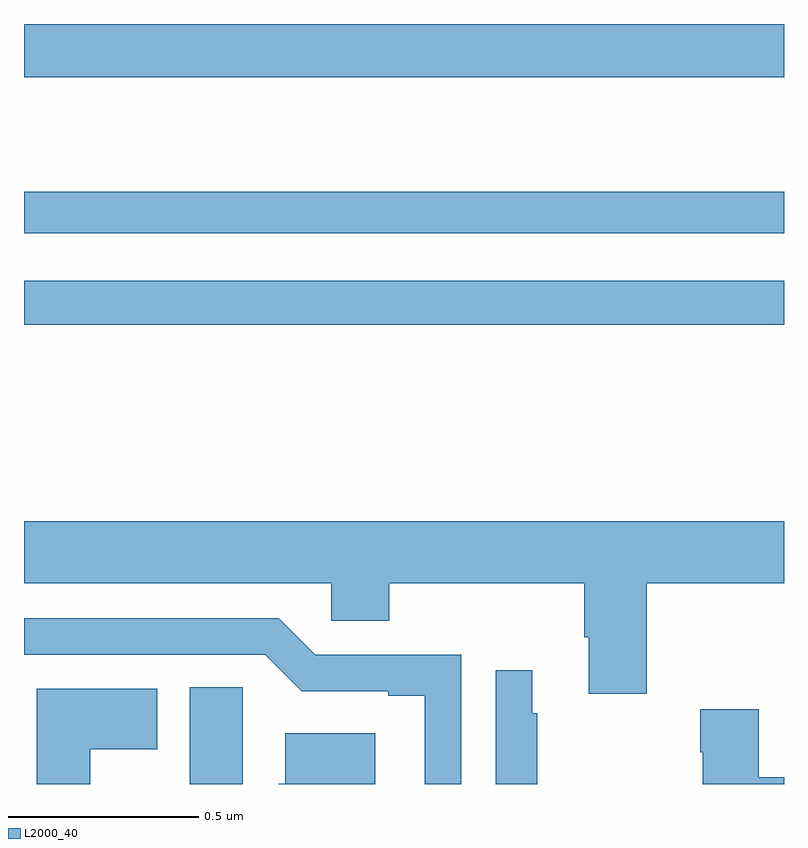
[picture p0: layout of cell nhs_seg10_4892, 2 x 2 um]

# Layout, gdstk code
import gdstk
lib = gdstk.Library(unit=1e-6, precision=1e-09)
def R(c, l, rs):  # rectangles x0, y0, x1, y1
    for r in rs: c.add(gdstk.rectangle(r[:2], r[2:], *l))
def P(c, l, *ps):  # polygons
    for p in ps: c.add(gdstk.Polygon(p, *l))
L2000_40 = (2000, 40)

nhs_seg10_4892 = lib.new_cell('nhs_seg10_4892')
R(nhs_seg10_4892, L2000_40, [(172,1255.708,174,1255.824), (172,1255.95,174,1256.059), (172,1256.36,174,1256.5)])
P(nhs_seg10_4892, L2000_40, [(173.639,1255.028),(174,1255.028),(174,1255.192),(172,1255.192),(172,1255.028),(172.809,1255.028),(172.809,1254.93),(172.961,1254.93),(172.961,1255.028),(173.474,1255.028),(173.474,1254.886),(173.486,1254.886),(173.486,1254.738),(173.639,1254.738)],
  [(173.151,1254.84),(172.767,1254.84),(172.671,1254.936),(172,1254.936),(172,1254.84),(172.635,1254.84),(172.731,1254.744),(172.958,1254.744),(172.958,1254.732),(173.054,1254.732),(173.054,1254.5),(173.151,1254.5)],
  [(173.35,1254.686),(173.338,1254.686),(173.338,1254.799),(173.241,1254.799),(173.241,1254.5),(173.35,1254.5)],
  [(172.576,1254.644),(172.575,1254.644),(172.575,1254.755),(172.436,1254.755),(172.436,1254.5),(172.576,1254.5)],
  [(172.174,1254.592),(172.351,1254.592),(172.351,1254.751),(172.034,1254.751),(172.034,1254.5),(172.174,1254.5)],
  [(174,1254.518),(173.933,1254.518),(173.933,1254.697),(173.779,1254.697),(173.779,1254.584),(173.786,1254.584),(173.786,1254.5),(174,1254.5)],
  [(172.924,1254.634),(172.688,1254.634),(172.688,1254.501),(172.67,1254.501),(172.67,1254.5),(172.924,1254.5)])

lib.write_gds('nhs_seg10_4892.gds')
